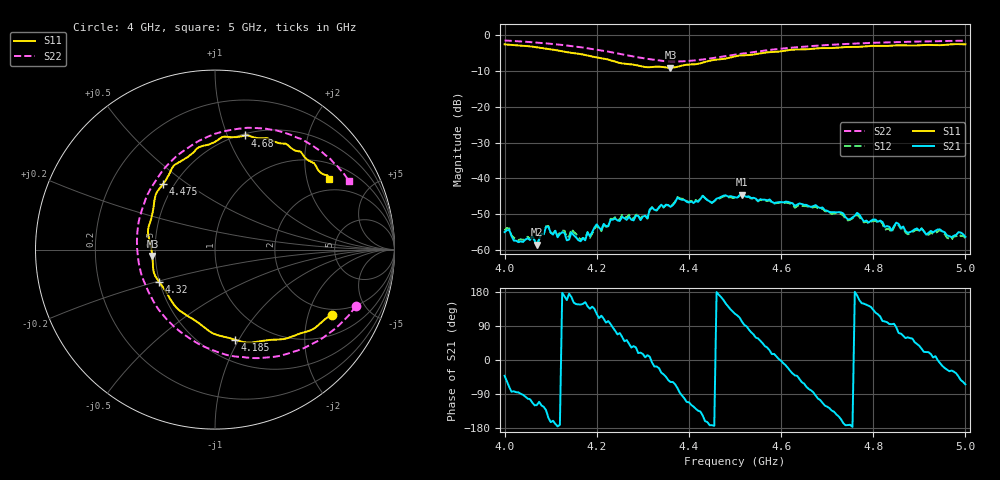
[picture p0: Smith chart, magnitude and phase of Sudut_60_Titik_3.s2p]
# Hz S RI R 50
! CMT, C1220, 16058040, 17.2.0/1
! Date: 15/08/2018 12:37:38
! Data: Format (Calibration Info)
! Freq  S11: Re/Im (F2)  S21: Re/Im (F2)  S12: Re/Im (F2)  S22: Re/Im (F2)
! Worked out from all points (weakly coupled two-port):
!   201 points, 4 GHz to 5 GHz, reference 50 ohm
!   highest |S21| = -44.55 dB at 4.515 GHz (marker M1); lowest = -58.6 dB at 4.07 GHz (marker M2)
!   lowest |S11| = -9.1 dB at 4.36 GHz (marker M3), VSWR 2.08, Z = 24.1 - j1.98 ohm
!   |S11| at or under -10 dB: nowhere
!   |S22| runs from -7.3 to -1.5 dB; largest |S21 - S12| = 0.00026
!   S11 on the Smith chart (normalised r, x): 4 GHz: 1.76, -2.87; 4.185 GHz: 0.70, -0.96; 4.32 GHz: 0.50, -0.20; 4.475 GHz: 0.44, +0.41; 4.68 GHz: 0.52, +1.16; 5 GHz: 1.55, +2.74
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4e9  0.6516 -0.3623  0.00132 -0.00118  0.00145 -0.00118  0.7848 -0.3151
4.03e9  0.5938 -0.4057  0.000103 -0.00128  9.98e-05 -0.00137  0.7311 -0.3814
4.06e9  0.5251 -0.4523  -0.000588 -0.00145  -0.000633 -0.00147  0.6645 -0.444
4.07e9  0.499 -0.46  -0.000571 -0.00103  -0.000529 -0.000996  0.639 -0.4636
4.095e9  0.419 -0.4882  -0.00187 -0.00097  -0.00188 -0.00106  0.5703 -0.5106
4.17e9  0.1569 -0.515  -0.00124 0.000772  -0.00121 0.000836  0.304 -0.5999
4.185e9  0.1087 -0.5013  -0.0011 0.00109  -0.00101 0.00108  0.2408 -0.6045
4.2e9  0.0537 -0.4864  -0.00118 0.00195  -0.00115 0.00189  0.1768 -0.6015
4.21e9  0.0167 -0.4774  -0.000863 0.0017  -0.000886 0.0016  0.1329 -0.5975
4.255e9  -0.1314 -0.3822  0.0014 0.00254  0.00146 0.00271  -0.0667 -0.5376
4.31e9  -0.2867 -0.214  0.00271 0.000604  0.00268 0.000478  -0.2825 -0.3727
4.32e9  -0.3128 -0.1778  0.00391 -0.000466  0.00392 -0.000518  -0.3155 -0.3323
4.335e9  -0.3404 -0.1296  0.00367 -0.00146  0.00362 -0.00148  -0.3551 -0.2654
4.36e9  -0.3488 -0.036  0.00211 -0.0034  0.00217 -0.00339  -0.4073 -0.1479
4.375e9  -0.3604 0.0334  0.0015 -0.00516  0.00154 -0.00525  -0.4251 -0.0729
4.475e9  -0.2884 0.3669  -0.00531 0.00212  -0.00515 0.00222  -0.3343 0.3771
4.5e9  -0.2433 0.4457  -0.00289 0.00461  -0.00287 0.00454  -0.2758 0.459
4.515e9  -0.2217 0.4741  -0.00117 0.0058  -0.00109 0.00575  -0.2345 0.5019
4.67e9  0.1488 0.6316  0.000335 -0.00408  0.000272 -0.00392  0.2088 0.6782
4.68e9  0.1665 0.6358  -0.000817 -0.00388  -0.000791 -0.0037  0.2357 0.6769
4.835e9  0.4484 0.5515  -0.000182 0.0021  -0.000185 0.00194  0.552 0.5735
5e9  0.6365 0.3912  0.000658 -0.00137  0.000693 -0.00129  0.7471 0.3817
